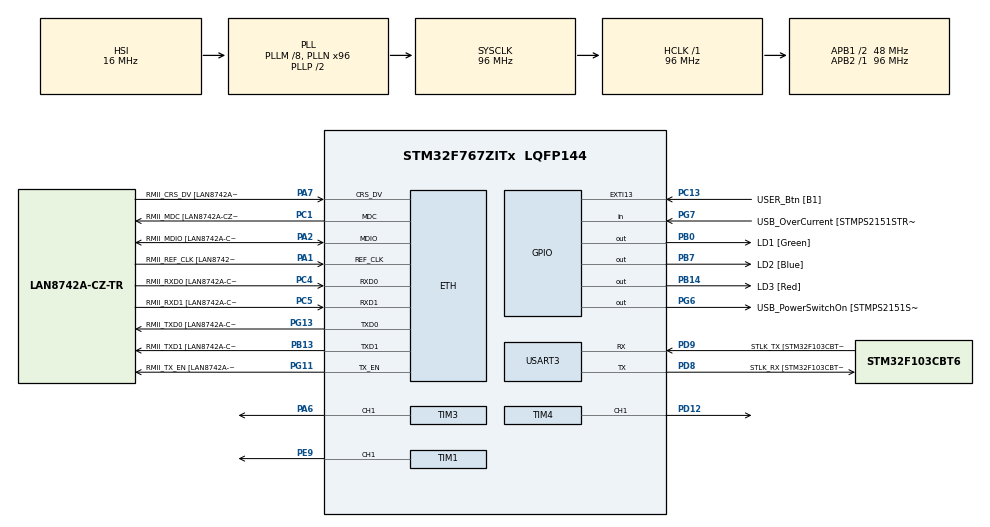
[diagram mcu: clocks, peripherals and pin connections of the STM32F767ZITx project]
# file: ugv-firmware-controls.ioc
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CORTEX_M7.AccessPermission-Cortex_Memory_Protection_Unit_Region0_Settings=MPU_REGION_FULL_ACCESS
CORTEX_M7.BaseAddress-Cortex_Memory_Protection_Unit_Region0_Settings=0x2007c000
CORTEX_M7.CPU_DCache=Enabled
CORTEX_M7.CPU_ICache=Enabled
CORTEX_M7.DisableExec-Cortex_Memory_Protection_Unit_Region0_Settings=MPU_INSTRUCTION_ACCESS_DISABLE
CORTEX_M7.Enable-Cortex_Memory_Protection_Unit_Region0_Settings=MPU_REGION_ENABLE
CORTEX_M7.Enable-Cortex_Memory_Protection_Unit_Region1_Settings=__NULL
CORTEX_M7.Enable-Cortex_Memory_Protection_Unit_Region2_Settings=__NULL
CORTEX_M7.IsShareable-Cortex_Memory_Protection_Unit_Region0_Settings=MPU_ACCESS_SHAREABLE
CORTEX_M7.MPU_Control=MPU_PRIVILEGED_DEFAULT
CORTEX_M7.PREFETCH_ENABLE=1
CORTEX_M7.Size-Cortex_Memory_Protection_Unit_Region0_Settings=MPU_REGION_SIZE_16KB
CORTEX_M7.SubRegionDisable-Cortex_Memory_Protection_Unit_Region0_Settings=0x0
CORTEX_M7.TypeExtField-Cortex_Memory_Protection_Unit_Region0_Settings=MPU_TEX_LEVEL1
ETH.MediaInterface=HAL_ETH_RMII_MODE
LWIP.BSP.number=1
LWIP.GATEWAY_ADDRESS=169.254.155.001
LWIP.IP_ADDRESS=169.254.155.100
LWIP.LWIP_DHCP=0
LWIP.LWIP_RAM_HEAP_POINTER=0x2007c140
LWIP.MEM_SIZE=10*1024
LWIP.NETMASK_ADDRESS=255.255.255.000
LWIP.Version=v2.1.2_Cube
LWIP0.BSP.STBoard=false
LWIP0.BSP.api=BSP_COMPONENT_DRIVER
LWIP0.BSP.component=LAN8742
LWIP0.BSP.instance=LAN8742
LWIP0.BSP.name=Driver_PHY
LWIP0.BSP.semaphore=S_LAN8742
LWIP0.BSP.solution=LAN8742
Mcu.Family=STM32F7
Mcu.Name=STM32F767ZITx
Mcu.Package=LQFP144
NVIC.ETH_IRQn=true\:0\:0\:false\:false\:true\:true\:true\:true
NVIC.PriorityGroup=NVIC_PRIORITYGROUP_4
NVIC.TIM2_IRQn=true\:0\:0\:false\:false\:true\:true\:true\:true
PA1.GPIO_Label=RMII_REF_CLK [LAN8742A-CZ-TR_REFCLK0]
PA1.Mode=RMII
PA1.Signal=ETH_REF_CLK
PA10.GPIO_Label=USB_ID
PA10.Signal=USB_OTG_FS_ID
PA11.GPIO_Label=USB_DM
PA11.Signal=USB_OTG_FS_DM
PA12.GPIO_Label=USB_DP
PA12.Signal=USB_OTG_FS_DP
PA13.GPIO_Label=TMS
PA13.Signal=SYS_JTMS-SWDIO
PA14.GPIO_Label=TCK
PA14.Signal=SYS_JTCK-SWCLK
PA2.GPIO_Label=RMII_MDIO [LAN8742A-CZ-TR_MDIO]
PA2.Mode=RMII
PA2.Signal=ETH_MDIO
PA6.Signal=S_TIM3_CH1
PA7.GPIO_Label=RMII_CRS_DV [LAN8742A-CZ-TR_CRS_DV]
PA7.Mode=RMII
PA7.Signal=ETH_CRS_DV
PA8.GPIO_Label=USB_SOF [TP1]
PA8.Signal=USB_OTG_FS_SOF
PA9.GPIO_Label=USB_VBUS
PA9.Signal=USB_OTG_FS_VBUS
PB0.GPIO_Label=LD1 [Green]
PB0.Signal=GPIO_Output
PB13.GPIO_Label=RMII_TXD1 [LAN8742A-CZ-TR_TXD1]
PB13.Mode=RMII
PB13.Signal=ETH_TXD1
PB14.GPIO_Label=LD3 [Red]
PB14.Signal=GPIO_Output
PB3.GPIO_Label=SW0
PB3.Signal=SYS_JTDO-SWO
PB7.GPIO_Label=LD2 [Blue]
PB7.Signal=GPIO_Output
PC1.GPIO_Label=RMII_MDC [LAN8742A-CZ-TR_MDC]
PC1.Mode=RMII
PC1.Signal=ETH_MDC
PC13.GPIO_Label=USER_Btn [B1]
PC13.Signal=GPXTI13
PC14/OSC32_IN.Signal=RCC_OSC32_IN
PC15/OSC32_OUT.Signal=RCC_OSC32_OUT
PC4.GPIO_Label=RMII_RXD0 [LAN8742A-CZ-TR_RXD0]
PC4.Mode=RMII
PC4.Signal=ETH_RXD0
PC5.GPIO_Label=RMII_RXD1 [LAN8742A-CZ-TR_RXD1]
PC5.Mode=RMII
PC5.Signal=ETH_RXD1
PD12.Signal=S_TIM4_CH1
PD8.GPIO_Label=STLK_RX [STM32F103CBT6_PA3]
PD8.Mode=Asynchronous
PD8.Signal=USART3_TX
PD9.GPIO_Label=STLK_TX [STM32F103CBT6_PA2]
PD9.Mode=Asynchronous
PD9.Signal=USART3_RX
PE9.Signal=S_TIM1_CH1
PG11.GPIO_Label=RMII_TX_EN [LAN8742A-CZ-TR_TXEN]
PG11.Mode=RMII
PG11.Signal=ETH_TX_EN
PG13.GPIO_Label=RMII_TXD0 [LAN8742A-CZ-TR_TXD0]
PG13.Mode=RMII
PG13.Signal=ETH_TXD0
PG6.GPIO_Label=USB_PowerSwitchOn [STMPS2151STR_EN]
PG6.Signal=GPIO_Output
PG7.GPIO_Label=USB_OverCurrent [STMPS2151STR_FAULT]
PG7.Signal=GPIO_Input
PH0/OSC_IN.GPIO_Label=MCO [STM32F103CBT6_PA8]
PH0/OSC_IN.Mode=HSE-External-Oscillator
PH0/OSC_IN.Signal=RCC_OSC_IN
PH1/OSC_OUT.Mode=HSE-External-Oscillator
PH1/OSC_OUT.Signal=RCC_OSC_OUT
ProjectManager.HeapSize=0x200
ProjectManager.StackSize=0x400
ProjectManager.TargetToolchain=STM32CubeIDE
RCC.48MHZClocksFreq_Value=24000000
RCC.AHBFreq_Value=96000000
RCC.APB1CLKDivider=RCC_HCLK_DIV2
RCC.APB1Freq_Value=48000000
RCC.APB1TimFreq_Value=96000000
RCC.APB2Freq_Value=96000000
RCC.APB2TimFreq_Value=96000000
RCC.CortexFreq_Value=96000000
RCC.HCLKFreq_Value=96000000
RCC.HSE_VALUE=16000000
RCC.HSI_VALUE=16000000
RCC.LSE_VALUE=32768
RCC.PLLM=8
RCC.PLLMUL=RCC_PLL_MUL9
RCC.PLLN=96
RCC.PRESCALERUSB=RCC_USBCLKSOURCE_PLL_DIV1_5
RCC.SYSCLKFreq_VALUE=96000000
RCC.SYSCLKSource=RCC_SYSCLKSOURCE_PLLCLK
RCC.SYSCLKSourceVirtual=RCC_SYSCLKSOURCE_PLLCLK
RCC.USBFreq_Value=96000000
RCC.VCOOutputFreq_Value=192000000
SH.S_TIM1_CH1.0=TIM1_CH1,PWM Generation1 CH1
SH.S_TIM3_CH1.0=TIM3_CH1,PWM Generation1 CH1
SH.S_TIM4_CH1.0=TIM4_CH1,PWM Generation1 CH1
TIM1.Channel-PWM\ Generation1\ CH1=TIM_CHANNEL_1
TIM1.Period=20000-1
TIM1.Prescaler=96-1
TIM2.Period=100000-1
TIM2.Prescaler=96-1
TIM3.Channel-PWM\ Generation1\ CH1=TIM_CHANNEL_1
TIM3.Period=20000-1
TIM3.Prescaler=96-1
TIM4.Channel-PWM\ Generation1\ CH1=TIM_CHANNEL_1
TIM4.Period=20000-1
TIM4.Prescaler=96-1
USART3.VirtualMode-Asynchronous=VM_ASYNC
VP_LWIP_VS_Enabled.Mode=Enabled
VP_TIM1_VS_ClockSourceINT.Mode=Internal
VP_TIM2_VS_ClockSourceINT.Mode=Internal
VP_TIM3_VS_ClockSourceINT.Mode=Internal
VP_TIM4_VS_ClockSourceINT.Mode=Internal
board=NUCLEO-F767ZI

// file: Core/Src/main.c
/* USER CODE BEGIN Header */
/**
  ******************************************************************************
  * @file           : main.c
  * @brief          : Main program body
  ******************************************************************************
  * @attention
  *
  * Copyright (c) 2026 STMicroelectronics.
  * All rights reserved.
  *
  * This software is licensed under terms that can be found in the LICENSE file
  * in the root directory of this software component.
  * If no LICENSE file comes with this software, it is provided AS-IS.
  *
  ******************************************************************************
  */
/* USER CODE END Header */
#include "main.h"
#include "lwip.h"

/* USER CODE BEGIN Includes */
#include "lwip/pbuf.h"
#include "lwip/udp.h"
#include "lwip/tcp.h"

#include "stdio.h"
#include "string.h"

#include "ugv_servo.h"
/* USER CODE END Includes */

/* USER CODE BEGIN PD */
const float PL_MAX_ANGLE = 170.0;
const float PL_MIN_ANGLE = 0.0;

/* USER CODE END PD */

TIM_HandleTypeDef htim1;
TIM_HandleTypeDef htim2;
TIM_HandleTypeDef htim3;
TIM_HandleTypeDef htim4;

UART_HandleTypeDef huart3;

/* USER CODE BEGIN PV */
struct udp_pcb *upcb;
char buffer[100];
extern struct netif gnetif;

ugvServo_t pl_arm_1, pl_arm_2, pl_end;
float pl_angle = 0.0, arm_1_angle = 11.0, arm_2_angle = 185.0;
float plend_angle = 75.0;
/* USER CODE END PV */

void SystemClock_Config(void);
static void MPU_Config(void);
static void MX_GPIO_Init(void);
static void MX_TIM1_Init(void);
static void MX_TIM3_Init(void);
static void MX_TIM4_Init(void);
static void MX_USART3_UART_Init(void);
static void MX_TIM2_Init(void);
/* USER CODE BEGIN PFP */
void udp_receive_callback(void *arg, struct udp_pcb *upcb, struct pbuf *p,
		const ip_addr_t *addr, u16_t port);
//static void udp_client_send();
void udp_client_connect();
void HAL_TIM_PeriodElapsedCallback(TIM_HandleTypeDef *htim);
void pl_actuate_to(float angle);
/* USER CODE END PFP */

int main(void)
{

  /* MPU Configuration--------------------------------------------------------*/
  MPU_Config();

  /* Enable the CPU Cache */

  /* Enable I-Cache---------------------------------------------------------*/
  SCB_EnableICache();

  /* Enable D-Cache---------------------------------------------------------*/
  SCB_EnableDCache();

  /* MCU Configuration--------------------------------------------------------*/

  /* Reset of all peripherals, Initializes the Flash interface and the Systick. */
  HAL_Init();

  /* Configure the system clock */
  SystemClock_Config();

  /* Initialize all configured peripherals */
  MX_GPIO_Init();
  MX_LWIP_Init();
  MX_TIM1_Init();
  MX_TIM3_Init();
  MX_TIM4_Init();
  MX_USART3_UART_Init();
  MX_TIM2_Init();
  /* USER CODE BEGIN 2 */

  // Arm Servo Modeling
    pl_arm_1.timerInstance = &htim3;
    pl_arm_1.timerCCRX = &TIM3->CCR1;
    pl_arm_1.timerCh = TIM_CHANNEL_1;
    pl_arm_1.timerARR = htim3.Init.Period;
    pl_arm_1.minPulse = 500;
    pl_arm_1.maxPulse = 2500;
    pl_arm_1.timerPeriod = 20000;
    pl_arm_1.travelAngle = 270.0;
    pl_arm_1.minLimit = 11.0;
    pl_arm_1.maxLimit = 181.0;
    pl_arm_1.travelOffset = 0.0; //left

    pl_arm_2.timerInstance = &htim4;
    pl_arm_2.timerCCRX = &TIM4->CCR1;
    pl_arm_2.timerCh = TIM_CHANNEL_1;
    pl_arm_2.timerARR = htim4.Init.Period;
    pl_arm_2.minPulse = 500;
    pl_arm_2.maxPulse = 2500;
    pl_arm_2.timerPeriod = 20000;
    pl_arm_2.travelAngle = 270.0;
    pl_arm_2.minLimit = 15.0;
    pl_arm_2.maxLimit = 185.0;
    pl_arm_2.travelOffset = 0.0; //right

    pl_end.timerInstance = &htim1;
    pl_end.timerCCRX = &TIM1->CCR1;
    pl_end.timerCh = TIM_CHANNEL_1;
    pl_end.timerARR = htim1.Init.Period;
    pl_end.minPulse = 500;
    pl_end.maxPulse = 2500;
    pl_end.timerPeriod = 20000;
    pl_end.travelAngle = 1800.0;
    pl_end.minLimit = 0.0;
    pl_end.maxLimit = 1800.0;
    pl_end.travelOffset = 0.0;

    ugv_servoInitServo(&pl_arm_1);
    ugv_servoInitServo(&pl_arm_2);
    ugv_servoInitServo(&pl_end);
    pl_actuate_to(0.0);

    udp_client_connect();
    HAL_TIM_Base_Start_IT(&htim2);

  /* USER CODE END 2 */

  /* Infinite loop */
  while (1)
  {

    /* USER CODE BEGIN 3 */
	  ethernetif_input(&gnetif);
	  ethernet_link_check_state(&gnetif);
	  sys_check_timeouts();
  }
  /* USER CODE END 3 */
}

void SystemClock_Config(void)
{
  RCC_OscInitTypeDef RCC_OscInitStruct = {0};
  RCC_ClkInitTypeDef RCC_ClkInitStruct = {0};

  /** Configure the main internal regulator output voltage
  */
  __HAL_RCC_PWR_CLK_ENABLE();
  __HAL_PWR_VOLTAGESCALING_CONFIG(PWR_REGULATOR_VOLTAGE_SCALE3);

  /** Initializes the RCC Oscillators according to the specified parameters
  * in the RCC_OscInitTypeDef structure.
  */
  RCC_OscInitStruct.OscillatorType = RCC_OSCILLATORTYPE_HSI;
  RCC_OscInitStruct.HSIState = RCC_HSI_ON;
  RCC_OscInitStruct.HSICalibrationValue = RCC_HSICALIBRATION_DEFAULT;
  RCC_OscInitStruct.PLL.PLLState = RCC_PLL_ON;
  RCC_OscInitStruct.PLL.PLLSource = RCC_PLLSOURCE_HSI;
  RCC_OscInitStruct.PLL.PLLM = 8;
  RCC_OscInitStruct.PLL.PLLN = 96;
  RCC_OscInitStruct.PLL.PLLP = RCC_PLLP_DIV2;
  RCC_OscInitStruct.PLL.PLLQ = 2;
  RCC_OscInitStruct.PLL.PLLR = 2;
  if (HAL_RCC_OscConfig(&RCC_OscInitStruct) != HAL_OK)
  {
    Error_Handler();
  }

  /** Activate the Over-Drive mode
  */
  if (HAL_PWREx_EnableOverDrive() != HAL_OK)
  {
    Error_Handler();
  }

  /** Initializes the CPU, AHB and APB buses clocks
  */
  RCC_ClkInitStruct.ClockType = RCC_CLOCKTYPE_HCLK|RCC_CLOCKTYPE_SYSCLK
                              |RCC_CLOCKTYPE_PCLK1|RCC_CLOCKTYPE_PCLK2;
  RCC_ClkInitStruct.SYSCLKSource = RCC_SYSCLKSOURCE_PLLCLK;
  RCC_ClkInitStruct.AHBCLKDivider = RCC_SYSCLK_DIV1;
  RCC_ClkInitStruct.APB1CLKDivider = RCC_HCLK_DIV2;
  RCC_ClkInitStruct.APB2CLKDivider = RCC_HCLK_DIV1;

  if (HAL_RCC_ClockConfig(&RCC_ClkInitStruct, FLASH_LATENCY_3) != HAL_OK)
  {
    Error_Handler();
  }
}

static void MX_TIM1_Init(void)
{

  TIM_ClockConfigTypeDef sClockSourceConfig = {0};
  TIM_MasterConfigTypeDef sMasterConfig = {0};
  TIM_OC_InitTypeDef sConfigOC = {0};
  TIM_BreakDeadTimeConfigTypeDef sBreakDeadTimeConfig = {0};

  htim1.Instance = TIM1;
  htim1.Init.Prescaler = 96-1;
  htim1.Init.CounterMode = TIM_COUNTERMODE_UP;
  htim1.Init.Period = 20000-1;
  htim1.Init.ClockDivision = TIM_CLOCKDIVISION_DIV1;
  htim1.Init.RepetitionCounter = 0;
  htim1.Init.AutoReloadPreload = TIM_AUTORELOAD_PRELOAD_DISABLE;
  if (HAL_TIM_Base_Init(&htim1) != HAL_OK)
  {
    Error_Handler();
  }
  sClockSourceConfig.ClockSource = TIM_CLOCKSOURCE_INTERNAL;
  if (HAL_TIM_ConfigClockSource(&htim1, &sClockSourceConfig) != HAL_OK)
  {
    Error_Handler();
  }
  if (HAL_TIM_PWM_Init(&htim1) != HAL_OK)
  {
    Error_Handler();
  }
  sMasterConfig.MasterOutputTrigger = TIM_TRGO_RESET;
  sMasterConfig.MasterOutputTrigger2 = TIM_TRGO2_RESET;
  sMasterConfig.MasterSlaveMode = TIM_MASTERSLAVEMODE_DISABLE;
  if (HAL_TIMEx_MasterConfigSynchronization(&htim1, &sMasterConfig) != HAL_OK)
  {
    Error_Handler();
  }
  sConfigOC.OCMode = TIM_OCMODE_PWM1;
  sConfigOC.Pulse = 0;
  sConfigOC.OCPolarity = TIM_OCPOLARITY_HIGH;
  sConfigOC.OCNPolarity = TIM_OCNPOLARITY_HIGH;
  sConfigOC.OCFastMode = TIM_OCFAST_DISABLE;
  sConfigOC.OCIdleState = TIM_OCIDLESTATE_RESET;
  sConfigOC.OCNIdleState = TIM_OCNIDLESTATE_RESET;
  if (HAL_TIM_PWM_ConfigChannel(&htim1, &sConfigOC, TIM_CHANNEL_1) != HAL_OK)
  {
    Error_Handler();
  }
  sBreakDeadTimeConfig.OffStateRunMode = TIM_OSSR_DISABLE;
  sBreakDeadTimeConfig.OffStateIDLEMode = TIM_OSSI_DISABLE;
  sBreakDeadTimeConfig.LockLevel = TIM_LOCKLEVEL_OFF;
  sBreakDeadTimeConfig.DeadTime = 0;
  sBreakDeadTimeConfig.BreakState = TIM_BREAK_DISABLE;
  sBreakDeadTimeConfig.BreakPolarity = TIM_BREAKPOLARITY_HIGH;
  sBreakDeadTimeConfig.BreakFilter = 0;
  sBreakDeadTimeConfig.Break2State = TIM_BREAK2_DISABLE;
  sBreakDeadTimeConfig.Break2Polarity = TIM_BREAK2POLARITY_HIGH;
  sBreakDeadTimeConfig.Break2Filter = 0;
  sBreakDeadTimeConfig.AutomaticOutput = TIM_AUTOMATICOUTPUT_DISABLE;
  if (HAL_TIMEx_ConfigBreakDeadTime(&htim1, &sBreakDeadTimeConfig) != HAL_OK)
  {
    Error_Handler();
  }
  HAL_TIM_MspPostInit(&htim1);

}

static void MX_TIM2_Init(void)
{

  TIM_ClockConfigTypeDef sClockSourceConfig = {0};
  TIM_MasterConfigTypeDef sMasterConfig = {0};

  htim2.Instance = TIM2;
  htim2.Init.Prescaler = 96-1;
  htim2.Init.CounterMode = TIM_COUNTERMODE_UP;
  htim2.Init.Period = 100000-1;
  htim2.Init.ClockDivision = TIM_CLOCKDIVISION_DIV1;
  htim2.Init.AutoReloadPreload = TIM_AUTORELOAD_PRELOAD_DISABLE;
  if (HAL_TIM_Base_Init(&htim2) != HAL_OK)
  {
    Error_Handler();
  }
  sClockSourceConfig.ClockSource = TIM_CLOCKSOURCE_INTERNAL;
  if (HAL_TIM_ConfigClockSource(&htim2, &sClockSourceConfig) != HAL_OK)
  {
    Error_Handler();
  }
  sMasterConfig.MasterOutputTrigger = TIM_TRGO_RESET;
  sMasterConfig.MasterSlaveMode = TIM_MASTERSLAVEMODE_DISABLE;
  if (HAL_TIMEx_MasterConfigSynchronization(&htim2, &sMasterConfig) != HAL_OK)
  {
    Error_Handler();
  }

}

static void MX_TIM3_Init(void)
{

  TIM_ClockConfigTypeDef sClockSourceConfig = {0};
  TIM_MasterConfigTypeDef sMasterConfig = {0};
  TIM_OC_InitTypeDef sConfigOC = {0};

  htim3.Instance = TIM3;
  htim3.Init.Prescaler = 96-1;
  htim3.Init.CounterMode = TIM_COUNTERMODE_UP;
  htim3.Init.Period = 20000-1;
  htim3.Init.ClockDivision = TIM_CLOCKDIVISION_DIV1;
  htim3.Init.AutoReloadPreload = TIM_AUTORELOAD_PRELOAD_DISABLE;
  if (HAL_TIM_Base_Init(&htim3) != HAL_OK)
  {
    Error_Handler();
  }
  sClockSourceConfig.ClockSource = TIM_CLOCKSOURCE_INTERNAL;
  if (HAL_TIM_ConfigClockSource(&htim3, &sClockSourceConfig) != HAL_OK)
  {
    Error_Handler();
  }
  if (HAL_TIM_PWM_Init(&htim3) != HAL_OK)
  {
    Error_Handler();
  }
  sMasterConfig.MasterOutputTrigger = TIM_TRGO_RESET;
  sMasterConfig.MasterSlaveMode = TIM_MASTERSLAVEMODE_DISABLE;
  if (HAL_TIMEx_MasterConfigSynchronization(&htim3, &sMasterConfig) != HAL_OK)
  {
    Error_Handler();
  }
  sConfigOC.OCMode = TIM_OCMODE_PWM1;
  sConfigOC.Pulse = 0;
  sConfigOC.OCPolarity = TIM_OCPOLARITY_HIGH;
  sConfigOC.OCFastMode = TIM_OCFAST_DISABLE;
  if (HAL_TIM_PWM_ConfigChannel(&htim3, &sConfigOC, TIM_CHANNEL_1) != HAL_OK)
  {
    Error_Handler();
  }
  HAL_TIM_MspPostInit(&htim3);

}

static void MX_TIM4_Init(void)
{

  TIM_ClockConfigTypeDef sClockSourceConfig = {0};
  TIM_MasterConfigTypeDef sMasterConfig = {0};
  TIM_OC_InitTypeDef sConfigOC = {0};

  htim4.Instance = TIM4;
  htim4.Init.Prescaler = 96-1;
  htim4.Init.CounterMode = TIM_COUNTERMODE_UP;
  htim4.Init.Period = 20000-1;
  htim4.Init.ClockDivision = TIM_CLOCKDIVISION_DIV1;
  htim4.Init.AutoReloadPreload = TIM_AUTORELOAD_PRELOAD_DISABLE;
  if (HAL_TIM_Base_Init(&htim4) != HAL_OK)
  {
    Error_Handler();
  }
  sClockSourceConfig.ClockSource = TIM_CLOCKSOURCE_INTERNAL;
  if (HAL_TIM_ConfigClockSource(&htim4, &sClockSourceConfig) != HAL_OK)
  {
    Error_Handler();
  }
  if (HAL_TIM_PWM_Init(&htim4) != HAL_OK)
  {
    Error_Handler();
  }
  sMasterConfig.MasterOutputTrigger = TIM_TRGO_RESET;
  sMasterConfig.MasterSlaveMode = TIM_MASTERSLAVEMODE_DISABLE;
  if (HAL_TIMEx_MasterConfigSynchronization(&htim4, &sMasterConfig) != HAL_OK)
  {
    Error_Handler();
  }
  sConfigOC.OCMode = TIM_OCMODE_PWM1;
  sConfigOC.Pulse = 0;
  sConfigOC.OCPolarity = TIM_OCPOLARITY_HIGH;
  sConfigOC.OCFastMode = TIM_OCFAST_DISABLE;
  if (HAL_TIM_PWM_ConfigChannel(&htim4, &sConfigOC, TIM_CHANNEL_1) != HAL_OK)
  {
    Error_Handler();
  }
  HAL_TIM_MspPostInit(&htim4);

}

static void MX_USART3_UART_Init(void)
{

  huart3.Instance = USART3;
  huart3.Init.BaudRate = 115200;
  huart3.Init.WordLength = UART_WORDLENGTH_8B;
  huart3.Init.StopBits = UART_STOPBITS_1;
  huart3.Init.Parity = UART_PARITY_NONE;
  huart3.Init.Mode = UART_MODE_TX_RX;
  huart3.Init.HwFlowCtl = UART_HWCONTROL_NONE;
  huart3.Init.OverSampling = UART_OVERSAMPLING_16;
  huart3.Init.OneBitSampling = UART_ONE_BIT_SAMPLE_DISABLE;
  huart3.AdvancedInit.AdvFeatureInit = UART_ADVFEATURE_NO_INIT;
  if (HAL_UART_Init(&huart3) != HAL_OK)
  {
    Error_Handler();
  }

}

static void MX_GPIO_Init(void)
{
  GPIO_InitTypeDef GPIO_InitStruct = {0};

  /* GPIO Ports Clock Enable */
  __HAL_RCC_GPIOC_CLK_ENABLE();
  __HAL_RCC_GPIOH_CLK_ENABLE();
  __HAL_RCC_GPIOA_CLK_ENABLE();
  __HAL_RCC_GPIOB_CLK_ENABLE();
  __HAL_RCC_GPIOE_CLK_ENABLE();
  __HAL_RCC_GPIOD_CLK_ENABLE();
  __HAL_RCC_GPIOG_CLK_ENABLE();

  /*Configure GPIO pin Output Level */
  HAL_GPIO_WritePin(GPIOB, LD1_Pin|LD3_Pin|LD2_Pin, GPIO_PIN_RESET);

  /*Configure GPIO pin Output Level */
  HAL_GPIO_WritePin(USB_PowerSwitchOn_GPIO_Port, USB_PowerSwitchOn_Pin, GPIO_PIN_RESET);

  /*Configure GPIO pin : USER_Btn_Pin */
  GPIO_InitStruct.Pin = USER_Btn_Pin;
  GPIO_InitStruct.Mode = GPIO_MODE_IT_RISING;
  GPIO_InitStruct.Pull = GPIO_NOPULL;
  HAL_GPIO_Init(USER_Btn_GPIO_Port, &GPIO_InitStruct);

  /*Configure GPIO pins : LD1_Pin LD3_Pin LD2_Pin */
  GPIO_InitStruct.Pin = LD1_Pin|LD3_Pin|LD2_Pin;
  GPIO_InitStruct.Mode = GPIO_MODE_OUTPUT_PP;
  GPIO_InitStruct.Pull = GPIO_NOPULL;
  GPIO_InitStruct.Speed = GPIO_SPEED_FREQ_LOW;
  HAL_GPIO_Init(GPIOB, &GPIO_InitStruct);

  /*Configure GPIO pin : USB_PowerSwitchOn_Pin */
  GPIO_InitStruct.Pin = USB_PowerSwitchOn_Pin;
  GPIO_InitStruct.Mode = GPIO_MODE_OUTPUT_PP;
  GPIO_InitStruct.Pull = GPIO_NOPULL;
  GPIO_InitStruct.Speed = GPIO_SPEED_FREQ_LOW;
  HAL_GPIO_Init(USB_PowerSwitchOn_GPIO_Port, &GPIO_InitStruct);

  /*Configure GPIO pin : USB_OverCurrent_Pin */
  GPIO_InitStruct.Pin = USB_OverCurrent_Pin;
  GPIO_InitStruct.Mode = GPIO_MODE_INPUT;
  GPIO_InitStruct.Pull = GPIO_NOPULL;
  HAL_GPIO_Init(USB_OverCurrent_GPIO_Port, &GPIO_InitStruct);

  /*Configure GPIO pins : USB_SOF_Pin USB_ID_Pin USB_DM_Pin USB_DP_Pin */
  GPIO_InitStruct.Pin = USB_SOF_Pin|USB_ID_Pin|USB_DM_Pin|USB_DP_Pin;
  GPIO_InitStruct.Mode = GPIO_MODE_AF_PP;
  GPIO_InitStruct.Pull = GPIO_NOPULL;
  GPIO_InitStruct.Speed = GPIO_SPEED_FREQ_VERY_HIGH;
  GPIO_InitStruct.Alternate = GPIO_AF10_OTG_FS;
  HAL_GPIO_Init(GPIOA, &GPIO_InitStruct);

  /*Configure GPIO pin : USB_VBUS_Pin */
  GPIO_InitStruct.Pin = USB_VBUS_Pin;
  GPIO_InitStruct.Mode = GPIO_MODE_INPUT;
  GPIO_InitStruct.Pull = GPIO_NOPULL;
  HAL_GPIO_Init(USB_VBUS_GPIO_Port, &GPIO_InitStruct);

}

/* USER CODE BEGIN 4 */
void udp_client_connect()
{
	err_t err;

	// Create a new UDP control block
	// Need to check for null return
	upcb = udp_new();

	// Bind control block to module's IP address and port
	// Static IP address of Controls: 169.254.155.100
	ip_addr_t my_ip;
	IP_ADDR4(&my_ip, 169, 254, 155, 100);

	// Binds udp protocol control block to a local IP address
	// Arbitrary port # selection: 8
	udp_bind(upcb, &my_ip, 8);

	// Configure destination IP address to be TBD
	ip_addr_t DestIPaddr;
	IP_ADDR4(&DestIPaddr, 169, 254, 155, 1);

	err = udp_connect(upcb, &DestIPaddr, 12345);

	if (err == HAL_OK)
	{
		// Blue LED
		HAL_GPIO_TogglePin(GPIOB, GPIO_PIN_7);
		// Set a receive callback for the upcb when server sends data to client
		udp_recv(upcb, udp_receive_callback, NULL);
	}
}

/*
static void udp_client_send()
{
	struct pbuf *tx_buff;
	char data[100] = {0};

	int len = sprintf(data, "Pay-load angle: %f, End effector: %f\r\n", pl_angle, plend_angle);

	// Allocate pbuf from pool
	tx_buff = pbuf_alloc(PBUF_TRANSPORT, len, PBUF_RAM);

	if (tx_buff != NULL)
	{
		// Copy data into pbuf
		pbuf_take(tx_buff, data, len);

		// Send udp data
		udp_send(upcb, tx_buff);

		// Free pbuf
		pbuf_free(tx_buff);
	}
}
*/

void udp_receive_callback(void *arg, struct udp_pcb *upcb, struct pbuf *p,
		const ip_addr_t *addr, u16_t port)
{
	// Copy data from the pbuf
	strncpy(buffer, (char *)p->payload, p->len);
	//Parse Input
	uint8_t data_index = 0;
	// PARSES DATA
	float data_vals[10] = {0};
	char *buffer_data = strtok(buffer, ",");
	while (buffer_data != NULL && data_index < 10)
	{
		float conv_check = atof(buffer_data);
		//Make data was converted properly
		if (conv_check == 0)
		{
			HAL_GPIO_TogglePin(GPIOB, GPIO_PIN_14);
		}

		data_vals[data_index] = conv_check;

		++data_index;
		buffer_data = strtok(NULL, ",");
	}
	// payload angle 0, end effector 1
	pbuf_free(p);
	pl_angle = data_vals[0];
	plend_angle = data_vals[1];

	pl_actuate_to(pl_angle);
	ugv_servoSetAngle(&pl_end, plend_angle);
}

void HAL_TIM_PeriodElapsedCallback(TIM_HandleTypeDef *htim)
{
	// logging data every second
	//udp_client_send();
	char log[200] = {0};
	sprintf(log, "Pay-load angle: %f, Arm angle 1: %f, Arm angle 2: %f, End effector: %f\r\n", pl_angle, arm_1_angle, arm_2_angle, plend_angle);
	HAL_UART_Transmit(&huart3, (uint8_t*)log, sizeof(log), HAL_MAX_DELAY);
}

void pl_actuate_to(float angle){
	arm_1_angle = pl_arm_1.minLimit + angle;
	arm_2_angle = pl_arm_2.maxLimit - angle;
	ugv_servoSetAngle(&pl_arm_1, arm_1_angle);
	ugv_servoSetAngle(&pl_arm_2, arm_2_angle);
}

/* USER CODE END 4 */

 /* MPU Configuration */

void MPU_Config(void)
{
  MPU_Region_InitTypeDef MPU_InitStruct = {0};

  /* Disables the MPU */
  HAL_MPU_Disable();

  /** Initializes and configures the Region and the memory to be protected
  */
  MPU_InitStruct.Enable = MPU_REGION_ENABLE;
  MPU_InitStruct.Number = MPU_REGION_NUMBER0;
  MPU_InitStruct.BaseAddress = 0x2007c000;
  MPU_InitStruct.Size = MPU_REGION_SIZE_16KB;
  MPU_InitStruct.SubRegionDisable = 0x0;
  MPU_InitStruct.TypeExtField = MPU_TEX_LEVEL1;
  MPU_InitStruct.AccessPermission = MPU_REGION_FULL_ACCESS;
  MPU_InitStruct.DisableExec = MPU_INSTRUCTION_ACCESS_DISABLE;
  MPU_InitStruct.IsShareable = MPU_ACCESS_SHAREABLE;
  MPU_InitStruct.IsCacheable = MPU_ACCESS_NOT_CACHEABLE;
  MPU_InitStruct.IsBufferable = MPU_ACCESS_NOT_BUFFERABLE;

  HAL_MPU_ConfigRegion(&MPU_InitStruct);
  /* Enables the MPU */
  HAL_MPU_Enable(MPU_PRIVILEGED_DEFAULT);

}

void Error_Handler(void)
{
  __disable_irq();
  while (1)
  {
  }
}
